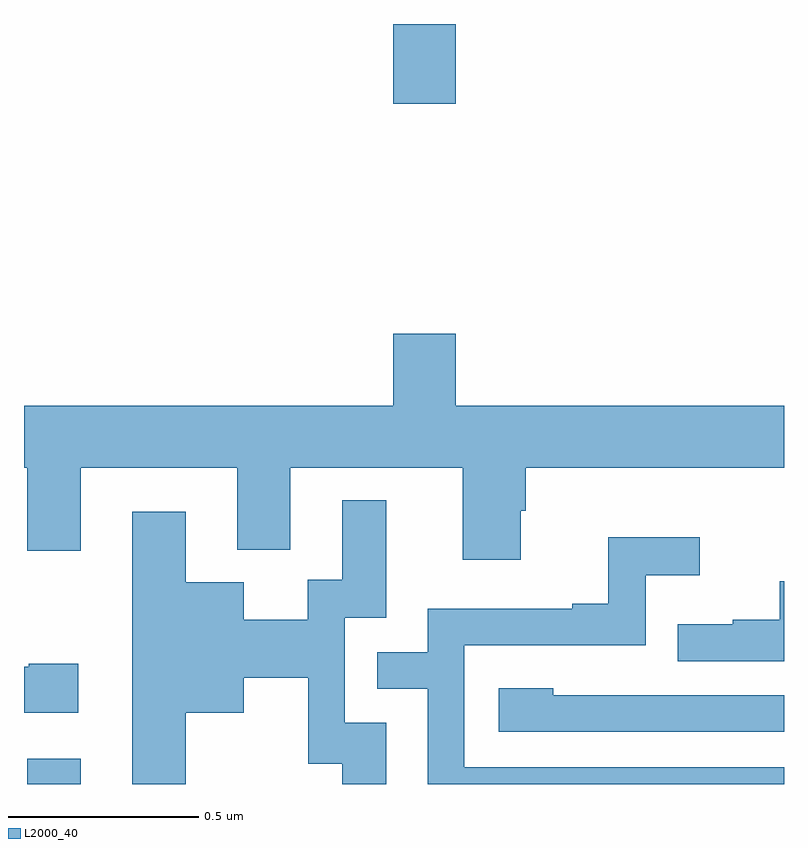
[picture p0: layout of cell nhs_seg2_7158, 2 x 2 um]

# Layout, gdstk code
import gdstk
lib = gdstk.Library(unit=1e-6, precision=1e-09)
def R(c, l, rs):  # rectangles x0, y0, x1, y1
    for r in rs: c.add(gdstk.rectangle(r[:2], r[2:], *l))
def P(c, l, *ps):  # polygons
    for p in ps: c.add(gdstk.Polygon(p, *l))
L2000_40 = (2000, 40)

nhs_seg2_7158 = lib.new_cell('nhs_seg2_7158')
R(nhs_seg2_7158, L2000_40, [(200.009,650.8,200.149,650.866), (200.972,652.59,201.136,652.8)])
P(nhs_seg2_7158, L2000_40, [(201.307,651.519),(201.32,651.519),(201.32,651.632),(202,651.632),(202,651.796),(201.136,651.796),(201.136,651.985),(200.972,651.985),(200.972,651.796),(200,651.796),(200,651.632),(200.009,651.632),(200.009,651.414),(200.149,651.414),(200.149,651.632),(200.561,651.632),(200.561,651.416),(200.701,651.416),(200.701,651.632),(201.155,651.632),(201.155,651.39),(201.307,651.39)],
  [(200.425,650.987),(200.578,650.987),(200.578,651.08),(200.748,651.08),(200.748,650.853),(200.837,650.853),(200.837,650.8),(200.953,650.8),(200.953,650.961),(200.844,650.961),(200.844,651.237),(200.953,651.237),(200.953,651.547),(200.837,651.547),(200.837,651.338),(200.747,651.338),(200.747,651.232),(200.578,651.232),(200.578,651.331),(200.425,651.331),(200.425,651.517),(200.285,651.517),(200.285,650.8),(200.425,650.8)],
  [(202,650.844),(201.159,650.844),(201.159,651.165),(201.636,651.165),(201.636,651.35),(201.778,651.35),(201.778,651.449),(201.538,651.449),(201.538,651.274),(201.443,651.274),(201.443,651.261),(201.063,651.261),(201.063,651.147),(200.929,651.147),(200.929,651.051),(201.063,651.051),(201.063,650.8),(202,650.8)],
  [(202,651.333),(201.989,651.333),(201.989,651.232),(201.865,651.232),(201.865,651.22),(201.721,651.22),(201.721,651.123),(202,651.123)],
  [(200.143,651.117),(200.013,651.117),(200.013,651.109),(200,651.109),(200,650.987),(200.143,650.987)],
  [(202,651.033),(201.629,651.033),(201.629,651.034),(201.393,651.034),(201.393,651.052),(201.249,651.052),(201.249,650.937),(202,650.937)])

lib.write_gds('nhs_seg2_7158.gds')
